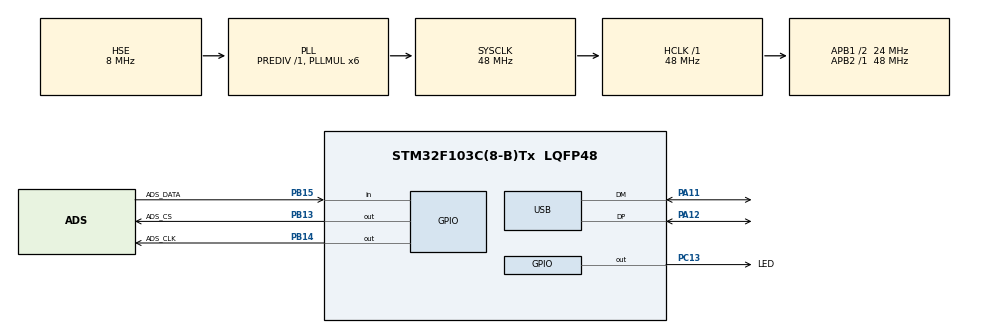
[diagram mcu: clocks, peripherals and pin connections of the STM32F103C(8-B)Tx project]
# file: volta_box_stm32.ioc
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Mcu.Family=STM32F1
Mcu.Name=STM32F103C(8-B)Tx
Mcu.Package=LQFP48
NVIC.PriorityGroup=NVIC_PRIORITYGROUP_4
NVIC.TIM3_IRQn=true\:0\:0\:false\:false\:true\:true
NVIC.USB_LP_CAN1_RX0_IRQn=true\:0\:0\:false\:false\:true\:true
PA11.Mode=Device
PA11.Signal=USB_DM
PA12.Mode=Device
PA12.Signal=USB_DP
PA13.Mode=Serial_Wire
PA13.Signal=SYS_JTMS-SWDIO
PA14.Mode=Serial_Wire
PA14.Signal=SYS_JTCK-SWCLK
PB13.GPIO_Label=ADS_CS
PB13.PinState=GPIO_PIN_SET
PB13.Signal=GPIO_Output
PB14.GPIO_Label=ADS_CLK
PB14.Signal=GPIO_Output
PB15.GPIO_Label=ADS_DATA
PB15.Signal=GPIO_Input
PC13-TAMPER-RTC.GPIO_Label=LED
PC13-TAMPER-RTC.Signal=GPIO_Output
PC14-OSC32_IN.Mode=LSE-External-Oscillator
PC14-OSC32_IN.Signal=RCC_OSC32_IN
PC15-OSC32_OUT.Mode=LSE-External-Oscillator
PC15-OSC32_OUT.Signal=RCC_OSC32_OUT
PD0-OSC_IN.Mode=HSE-External-Oscillator
PD0-OSC_IN.Signal=RCC_OSC_IN
PD1-OSC_OUT.Mode=HSE-External-Oscillator
PD1-OSC_OUT.Signal=RCC_OSC_OUT
ProjectManager.HeapSize=0x200
ProjectManager.StackSize=0x400
ProjectManager.TargetToolchain=SW4STM32
RCC.ADCPresc=RCC_ADCPCLK2_DIV4
RCC.AHBFreq_Value=48000000
RCC.APB1CLKDivider=RCC_HCLK_DIV2
RCC.APB1Freq_Value=24000000
RCC.APB1TimFreq_Value=48000000
RCC.APB2Freq_Value=48000000
RCC.APB2TimFreq_Value=48000000
RCC.HCLKFreq_Value=48000000
RCC.PLLMUL=RCC_PLL_MUL6
RCC.SYSCLKFreq_VALUE=48000000
RCC.SYSCLKSource=RCC_SYSCLKSOURCE_PLLCLK
RCC.USBFreq_Value=48000000
RCC.VDD_VALUE=3.3
TIM3.Prescaler=4799
USB.ep0_mps=DEP0CTL_MPS_64
USB_DEVICE.CLASS_NAME_FS=CDC
USB_DEVICE.MANUFACTURER_STRING=Yandex, LLC.
USB_DEVICE.PRODUCT_STRING_CDC_FS=VoltaBox
USB_DEVICE.USBD_CDC_INTERVAL=10
USB_DEVICE.USBD_HandleTypeDef=hUsbDeviceFS
USB_DEVICE.USBD_SELF_POWERED=0
USB_DEVICE.USBD_SUPPORT_USER_STRING=0
USB_DEVICE.VirtualMode=Cdc
USB_DEVICE.VirtualModeFS=Cdc_FS
VP_TIM3_VS_ClockSourceINT.Mode=Internal
VP_USB_DEVICE_VS_USB_DEVICE_CDC_FS.Mode=CDC_FS
board=volta_box_stm32

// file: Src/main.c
/**
  ******************************************************************************
  * @file           : main.c
  * @brief          : Main program body
  ******************************************************************************
  * This notice applies to any and all portions of this file
  * that are not between comment pairs USER CODE BEGIN and
  * USER CODE END. Other portions of this file, whether
  * inserted by the user or by software development tools
  * are owned by their respective copyright owners.
  *
  * Copyright (c) 2018 STMicroelectronics International N.V.
  * All rights reserved.
  *
  * Redistribution and use in source and binary forms, with or without
  * modification, are permitted, provided that the following conditions are met:
  *
  * 1. Redistribution of source code must retain the above copyright notice,
  *    this list of conditions and the following disclaimer.
  * 2. Redistributions in binary form must reproduce the above copyright notice,
  *    this list of conditions and the following disclaimer in the documentation
  *    and/or other materials provided with the distribution.
  * 3. Neither the name of STMicroelectronics nor the names of other
  *    contributors to this software may be used to endorse or promote products
  *    derived from this software without specific written permission.
  * 4. This software, including modifications and/or derivative works of this
  *    software, must execute solely and exclusively on microcontroller or
  *    microprocessor devices manufactured by or for STMicroelectronics.
  * 5. Redistribution and use of this software other than as permitted under
  *    this license is void and will automatically terminate your rights under
  *    this license.
  *
  * THIS SOFTWARE IS PROVIDED BY STMICROELECTRONICS AND CONTRIBUTORS "AS IS"
  * AND ANY EXPRESS, IMPLIED OR STATUTORY WARRANTIES, INCLUDING, BUT NOT
  * LIMITED TO, THE IMPLIED WARRANTIES OF MERCHANTABILITY, FITNESS FOR A
  * PARTICULAR PURPOSE AND NON-INFRINGEMENT OF THIRD PARTY INTELLECTUAL PROPERTY
  * RIGHTS ARE DISCLAIMED TO THE FULLEST EXTENT PERMITTED BY LAW. IN NO EVENT
  * SHALL STMICROELECTRONICS OR CONTRIBUTORS BE LIABLE FOR ANY DIRECT, INDIRECT,
  * INCIDENTAL, SPECIAL, EXEMPLARY, OR CONSEQUENTIAL DAMAGES (INCLUDING, BUT NOT
  * LIMITED TO, PROCUREMENT OF SUBSTITUTE GOODS OR SERVICES; LOSS OF USE, DATA,
  * OR PROFITS; OR BUSINESS INTERRUPTION) HOWEVER CAUSED AND ON ANY THEORY OF
  * LIABILITY, WHETHER IN CONTRACT, STRICT LIABILITY, OR TORT (INCLUDING
  * NEGLIGENCE OR OTHERWISE) ARISING IN ANY WAY OUT OF THE USE OF THIS SOFTWARE,
  * EVEN IF ADVISED OF THE POSSIBILITY OF SUCH DAMAGE.
  *
  ******************************************************************************
  */
#include "main.h"
#include "stm32f1xx_hal.h"
#include "usb_device.h"

/* USER CODE BEGIN Includes */
#include "usbd_cdc_if.h"
#include "buffer.h"

#define SENDBUF_SIZE RINGBUF_SIZE/2
/* USER CODE END Includes */

TIM_HandleTypeDef htim3;

/* USER CODE BEGIN PV */
/* Private variables ---------------------------------------------------------*/
struct ringbuf_t rb;

/* USER CODE END PV */

void SystemClock_Config(void);
static void MX_GPIO_Init(void);
static void MX_TIM3_Init(void);

/* USER CODE BEGIN PFP */
/* Private function prototypes -----------------------------------------------*/
static inline uint16_t ReadADS7816(void);
static inline void _ADS7816Clock(void);
static inline void _ADS7816Wait(void);
static inline void readNextValue(void);
/* USER CODE END PFP */

/* USER CODE BEGIN 0 */
void HAL_TIM_PeriodElapsedCallback(TIM_HandleTypeDef *htim) {
  if (htim->Instance == TIM3) {
    // HAL_GPIO_TogglePin(LED_GPIO_Port, LED_Pin);
    readNextValue();
  }
}
/* USER CODE END 0 */

int main(void)
{
  /* USER CODE BEGIN 1 */
  uint16_t buff[16];
  rb_init(&rb);
  /* USER CODE END 1 */

  /* MCU Configuration----------------------------------------------------------*/

  /* Reset of all peripherals, Initializes the Flash interface and the Systick. */
  HAL_Init();

  /* Configure the system clock */
  SystemClock_Config();

  /* Initialize all configured peripherals */
  MX_GPIO_Init();
  MX_USB_DEVICE_Init();
  MX_TIM3_Init();
  /* USER CODE BEGIN 2 */

  // wait USB enumeration
  HAL_Delay(1000);

  HAL_TIM_Base_Start_IT(&htim3);
  /* USER CODE END 2 */

  /* Infinite loop */
  while (1) {

  /* USER CODE BEGIN 3 */
    if (rb_remain(&rb) > SENDBUF_SIZE) {
      for (int i = 0; i < SENDBUF_SIZE; i++)
        buff[i] = rb_pop(&rb);
      while (CDC_Transmit_FS((uint8_t*) buff, sizeof(buff)) == USBD_BUSY)
        ;
    }
  }
  /* USER CODE END 3 */

}

void SystemClock_Config(void)
{

  RCC_OscInitTypeDef RCC_OscInitStruct;
  RCC_ClkInitTypeDef RCC_ClkInitStruct;
  RCC_PeriphCLKInitTypeDef PeriphClkInit;

    /**Initializes the CPU, AHB and APB busses clocks
    */
  RCC_OscInitStruct.OscillatorType = RCC_OSCILLATORTYPE_HSE;
  RCC_OscInitStruct.HSEState = RCC_HSE_ON;
  RCC_OscInitStruct.HSEPredivValue = RCC_HSE_PREDIV_DIV1;
  RCC_OscInitStruct.HSIState = RCC_HSI_ON;
  RCC_OscInitStruct.PLL.PLLState = RCC_PLL_ON;
  RCC_OscInitStruct.PLL.PLLSource = RCC_PLLSOURCE_HSE;
  RCC_OscInitStruct.PLL.PLLMUL = RCC_PLL_MUL6;
  if (HAL_RCC_OscConfig(&RCC_OscInitStruct) != HAL_OK)
  {
    _Error_Handler(__FILE__, __LINE__);
  }

    /**Initializes the CPU, AHB and APB busses clocks
    */
  RCC_ClkInitStruct.ClockType = RCC_CLOCKTYPE_HCLK|RCC_CLOCKTYPE_SYSCLK
                              |RCC_CLOCKTYPE_PCLK1|RCC_CLOCKTYPE_PCLK2;
  RCC_ClkInitStruct.SYSCLKSource = RCC_SYSCLKSOURCE_PLLCLK;
  RCC_ClkInitStruct.AHBCLKDivider = RCC_SYSCLK_DIV1;
  RCC_ClkInitStruct.APB1CLKDivider = RCC_HCLK_DIV2;
  RCC_ClkInitStruct.APB2CLKDivider = RCC_HCLK_DIV1;

  if (HAL_RCC_ClockConfig(&RCC_ClkInitStruct, FLASH_LATENCY_1) != HAL_OK)
  {
    _Error_Handler(__FILE__, __LINE__);
  }

  PeriphClkInit.PeriphClockSelection = RCC_PERIPHCLK_USB;
  PeriphClkInit.UsbClockSelection = RCC_USBCLKSOURCE_PLL;
  if (HAL_RCCEx_PeriphCLKConfig(&PeriphClkInit) != HAL_OK)
  {
    _Error_Handler(__FILE__, __LINE__);
  }

    /**Configure the Systick interrupt time
    */
  HAL_SYSTICK_Config(HAL_RCC_GetHCLKFreq()/1000);

    /**Configure the Systick
    */
  HAL_SYSTICK_CLKSourceConfig(SYSTICK_CLKSOURCE_HCLK);

  /* SysTick_IRQn interrupt configuration */
  HAL_NVIC_SetPriority(SysTick_IRQn, 0, 0);
}

/* TIM3 init function */
static void MX_TIM3_Init(void)
{

  TIM_ClockConfigTypeDef sClockSourceConfig;
  TIM_MasterConfigTypeDef sMasterConfig;

  htim3.Instance = TIM3;
  htim3.Init.Prescaler = 479;
  htim3.Init.CounterMode = TIM_COUNTERMODE_UP;
  htim3.Init.Period = 9;
  htim3.Init.ClockDivision = TIM_CLOCKDIVISION_DIV1;
  htim3.Init.AutoReloadPreload = TIM_AUTORELOAD_PRELOAD_DISABLE;
  if (HAL_TIM_Base_Init(&htim3) != HAL_OK)
  {
    _Error_Handler(__FILE__, __LINE__);
  }

  sClockSourceConfig.ClockSource = TIM_CLOCKSOURCE_INTERNAL;
  if (HAL_TIM_ConfigClockSource(&htim3, &sClockSourceConfig) != HAL_OK)
  {
    _Error_Handler(__FILE__, __LINE__);
  }

  sMasterConfig.MasterOutputTrigger = TIM_TRGO_RESET;
  sMasterConfig.MasterSlaveMode = TIM_MASTERSLAVEMODE_DISABLE;
  if (HAL_TIMEx_MasterConfigSynchronization(&htim3, &sMasterConfig) != HAL_OK)
  {
    _Error_Handler(__FILE__, __LINE__);
  }

}

/** Configure pins as
        * Analog
        * Input
        * Output
        * EVENT_OUT
        * EXTI
        * Free pins are configured automatically as Analog (this feature is enabled through
        * the Code Generation settings)
*/
static void MX_GPIO_Init(void)
{

  GPIO_InitTypeDef GPIO_InitStruct;

  /* GPIO Ports Clock Enable */
  __HAL_RCC_GPIOC_CLK_ENABLE();
  __HAL_RCC_GPIOD_CLK_ENABLE();
  __HAL_RCC_GPIOA_CLK_ENABLE();
  __HAL_RCC_GPIOB_CLK_ENABLE();

  /*Configure GPIO pin Output Level */
  HAL_GPIO_WritePin(LED_GPIO_Port, LED_Pin, GPIO_PIN_RESET);

  /*Configure GPIO pin Output Level */
  HAL_GPIO_WritePin(ADS_CS_GPIO_Port, ADS_CS_Pin, GPIO_PIN_SET);

  /*Configure GPIO pin Output Level */
  HAL_GPIO_WritePin(ADS_CLK_GPIO_Port, ADS_CLK_Pin, GPIO_PIN_RESET);

  /*Configure GPIO pin : LED_Pin */
  GPIO_InitStruct.Pin = LED_Pin;
  GPIO_InitStruct.Mode = GPIO_MODE_OUTPUT_PP;
  GPIO_InitStruct.Pull = GPIO_NOPULL;
  GPIO_InitStruct.Speed = GPIO_SPEED_FREQ_LOW;
  HAL_GPIO_Init(LED_GPIO_Port, &GPIO_InitStruct);

  /*Configure GPIO pins : PA0 PA1 PA2 PA3
                           PA4 PA5 PA6 PA7
                           PA8 PA9 PA10 PA15 */
  GPIO_InitStruct.Pin = GPIO_PIN_0|GPIO_PIN_1|GPIO_PIN_2|GPIO_PIN_3
                          |GPIO_PIN_4|GPIO_PIN_5|GPIO_PIN_6|GPIO_PIN_7
                          |GPIO_PIN_8|GPIO_PIN_9|GPIO_PIN_10|GPIO_PIN_15;
  GPIO_InitStruct.Mode = GPIO_MODE_ANALOG;
  HAL_GPIO_Init(GPIOA, &GPIO_InitStruct);

  /*Configure GPIO pins : PB0 PB1 PB2 PB10
                           PB11 PB12 PB3 PB4
                           PB5 PB6 PB7 PB8
                           PB9 */
  GPIO_InitStruct.Pin = GPIO_PIN_0|GPIO_PIN_1|GPIO_PIN_2|GPIO_PIN_10
                          |GPIO_PIN_11|GPIO_PIN_12|GPIO_PIN_3|GPIO_PIN_4
                          |GPIO_PIN_5|GPIO_PIN_6|GPIO_PIN_7|GPIO_PIN_8
                          |GPIO_PIN_9;
  GPIO_InitStruct.Mode = GPIO_MODE_ANALOG;
  HAL_GPIO_Init(GPIOB, &GPIO_InitStruct);

  /*Configure GPIO pins : ADS_CS_Pin ADS_CLK_Pin */
  GPIO_InitStruct.Pin = ADS_CS_Pin|ADS_CLK_Pin;
  GPIO_InitStruct.Mode = GPIO_MODE_OUTPUT_PP;
  GPIO_InitStruct.Pull = GPIO_NOPULL;
  GPIO_InitStruct.Speed = GPIO_SPEED_FREQ_LOW;
  HAL_GPIO_Init(GPIOB, &GPIO_InitStruct);

  /*Configure GPIO pin : ADS_DATA_Pin */
  GPIO_InitStruct.Pin = ADS_DATA_Pin;
  GPIO_InitStruct.Mode = GPIO_MODE_INPUT;
  GPIO_InitStruct.Pull = GPIO_NOPULL;
  HAL_GPIO_Init(ADS_DATA_GPIO_Port, &GPIO_InitStruct);

}

/* USER CODE BEGIN 4 */

inline uint16_t ReadADS7816(void) {
  uint16_t value = 0;

  // start the conversion
  HAL_GPIO_WritePin(ADS_CS_GPIO_Port, ADS_CS_Pin, GPIO_PIN_RESET);
  // wait two clock cycles
  _ADS7816Clock();
  _ADS7816Clock();
  // read the 12 data bits from ADS 7817
  for (int i = 0; i < 12; i++) {
    _ADS7816Clock();
    value = (value << 1) + HAL_GPIO_ReadPin(ADS_DATA_GPIO_Port, ADS_DATA_Pin);
  }
  HAL_GPIO_WritePin(ADS_CS_GPIO_Port, ADS_CS_Pin, GPIO_PIN_SET);
  return value;
}

inline void _ADS7816Clock(void) {
  HAL_GPIO_WritePin(ADS_CLK_GPIO_Port, ADS_CLK_Pin, GPIO_PIN_SET);
  _ADS7816Wait();
  HAL_GPIO_WritePin(ADS_CLK_GPIO_Port, ADS_CLK_Pin, GPIO_PIN_RESET);
}

inline void _ADS7816Wait(void) {
  // hardcode 5 cpu cycles (approx. 13.88 ns each cycle)
  uint32_t i;
  for (i = 0; i < 5; i++) {
    asm("");
  }
}

inline void readNextValue(void) {
  rb_push(&rb, ReadADS7816());
}
/* USER CODE END 4 */

void _Error_Handler(char *file, int line)
{
  while(1)
  {
  }
}

/************************ (C) COPYRIGHT STMicroelectronics *****END OF FILE****/
